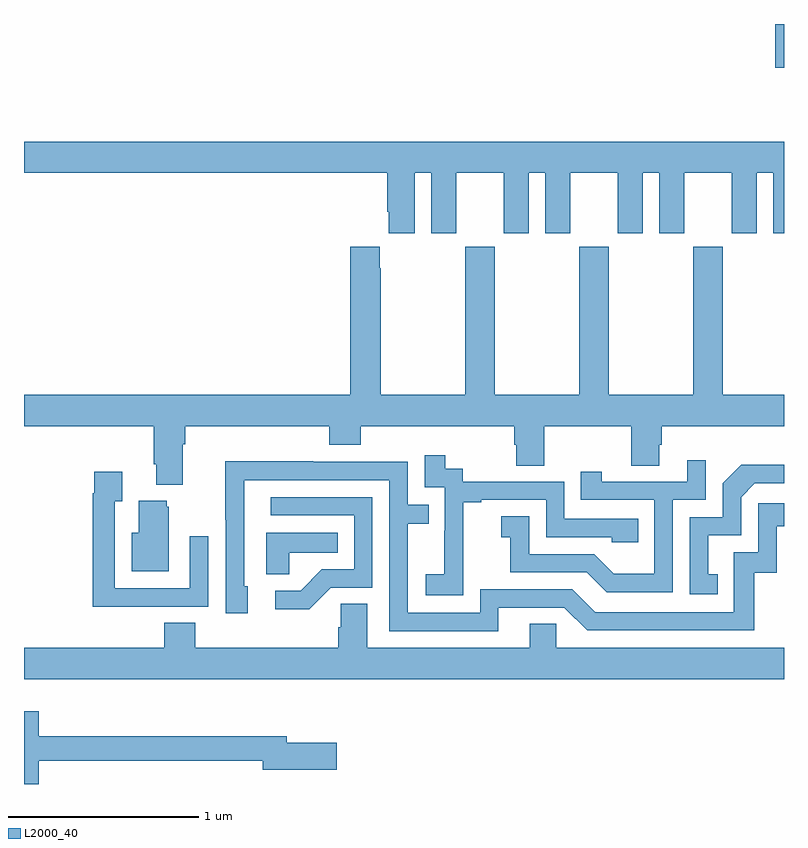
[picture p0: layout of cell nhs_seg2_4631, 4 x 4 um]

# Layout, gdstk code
import gdstk
lib = gdstk.Library(unit=1e-6, precision=1e-09)
def R(c, l, rs):  # rectangles x0, y0, x1, y1
    for r in rs: c.add(gdstk.rectangle(r[:2], r[2:], *l))
def P(c, l, *ps):  # polygons
    for p in ps: c.add(gdstk.Polygon(p, *l))
L2000_40 = (2000, 40)

nhs_seg2_4631 = lib.new_cell('nhs_seg2_4631')
R(nhs_seg2_4631, L2000_40, [(366.953,601.569,367,601.8)])
P(nhs_seg2_4631, L2000_40, [(365.056,601.016),(365.144,601.016),(365.144,600.699),(365.275,600.699),(365.275,601.016),(365.525,601.016),(365.525,600.699),(365.656,600.699),(365.656,601.016),(365.744,601.016),(365.744,600.699),(365.875,600.699),(365.875,601.016),(366.125,601.016),(366.125,600.699),(366.256,600.699),(366.256,601.016),(366.344,601.016),(366.344,600.699),(366.475,600.699),(366.475,601.016),(366.725,601.016),(366.725,600.699),(366.856,600.699),(366.856,601.016),(366.944,601.016),(366.944,600.699),(367,600.699),(367,601.18),(363,601.18),(363,601.016),(364.913,601.016),(364.913,600.811),(364.919,600.811),(364.919,600.699),(365.056,600.699)],
  [(363.835,599.588),(363.848,599.588),(363.848,599.684),(364.607,599.684),(364.607,599.585),(364.772,599.585),(364.772,599.684),(365.579,599.684),(365.579,599.586),(365.591,599.586),(365.591,599.476),(365.739,599.476),(365.739,599.684),(366.196,599.684),(366.196,599.476),(366.343,599.476),(366.343,599.586),(366.356,599.586),(366.356,599.684),(367,599.684),(367,599.848),(366.678,599.848),(366.678,600.628),(366.523,600.628),(366.523,599.848),(366.078,599.848),(366.078,600.628),(365.923,600.628),(365.923,599.848),(365.478,599.848),(365.478,600.628),(365.323,600.628),(365.323,599.848),(364.878,599.848),(364.878,600.515),(364.873,600.515),(364.873,600.628),(364.718,600.628),(364.718,599.848),(363,599.848),(363,599.684),(363.683,599.684),(363.683,599.482),(363.695,599.482),(363.695,599.375),(363.835,599.375)],
  [(365.313,598.999),(365.312,598.999),(365.312,599.283),(365.407,599.283),(365.407,599.295),(365.748,599.295),(365.748,599.1),(366.093,599.1),(366.093,599.073),(366.233,599.073),(366.233,599.196),(365.844,599.196),(365.844,599.391),(365.31,599.391),(365.31,599.46),(365.218,599.46),(365.218,599.53),(365.109,599.53),(365.109,599.361),(365.214,599.361),(365.214,599.132),(365.213,599.132),(365.213,598.903),(365.115,598.903),(365.115,598.793),(365.313,598.793)],
  [(366.414,599.295),(366.588,599.295),(366.588,599.503),(366.491,599.503),(366.491,599.391),(366.04,599.391),(366.04,599.443),(365.929,599.443),(365.929,599.295),(366.318,599.295),(366.318,598.906),(366.104,598.906),(366,599.01),(365.658,599.01),(365.658,599.209),(365.511,599.209),(365.511,599.099),(365.56,599.099),(365.56,598.914),(365.963,598.914),(366.068,598.809),(366.414,598.809)],
  [(365.497,598.728),(365.844,598.728),(365.964,598.608),(366.844,598.608),(366.844,598.911),(366.962,598.911),(366.962,599.157),(367,599.157),(367,599.278),(366.864,599.278),(366.864,599.019),(366.735,599.019),(366.735,598.704),(366.006,598.704),(365.886,598.824),(365.4,598.824),(365.4,598.701),(365.019,598.701),(365.019,599.17),(365.129,599.17),(365.129,599.271),(365.019,599.271),(365.019,599.496),(364.523,599.496),(364.523,599.498),(364.06,599.498),(364.06,599.191),(364.062,599.191),(364.062,598.698),(364.177,598.698),(364.177,598.842),(364.158,598.842),(364.158,599.4),(364.923,599.4),(364.923,598.605),(365.497,598.605)],
  [(366.65,598.905),(366.601,598.905),(366.601,599.109),(366.774,599.109),(366.774,599.31),(366.846,599.382),(367,599.382),(367,599.48),(366.776,599.48),(366.678,599.382),(366.678,599.205),(366.504,599.205),(366.504,598.8),(366.65,598.8)],
  [(363.653,598.734),(363.969,598.734),(363.969,599.104),(363.873,599.104),(363.873,598.83),(363.477,598.83),(363.477,599.287),(363.517,599.287),(363.517,599.443),(363.369,599.443),(363.369,599.33),(363.361,599.33),(363.361,598.733),(363.653,598.733)],
  [(364.614,598.833),(364.833,598.833),(364.833,599.31),(364.299,599.31),(364.299,599.214),(364.737,599.214),(364.737,598.929),(364.568,598.929),(364.457,598.818),(364.323,598.818),(364.323,598.721),(364.501,598.721)],
  [(363.763,599.259),(363.752,599.259),(363.752,599.29),(363.605,599.29),(363.605,599.122),(363.566,599.122),(363.566,598.919),(363.763,598.919)],
  [(364.395,599.018),(364.652,599.018),(364.652,599.122),(364.274,599.122),(364.274,598.903),(364.395,598.903)],
  [(367,598.516),(365.802,598.516),(365.802,598.643),(365.663,598.643),(365.663,598.516),(364.807,598.516),(364.807,598.748),(364.668,598.748),(364.668,598.625),(364.655,598.625),(364.655,598.516),(363.902,598.516),(363.902,598.649),(363.737,598.649),(363.737,598.516),(363,598.516),(363,598.352),(367,598.352)],
  [(363.077,597.922),(364.256,597.922),(364.256,597.875),(364.645,597.875),(364.645,598.017),(364.384,598.017),(364.384,598.051),(363.077,598.051),(363.077,598.183),(363,598.183),(363,597.8),(363.077,597.8)])

lib.write_gds('nhs_seg2_4631.gds')
